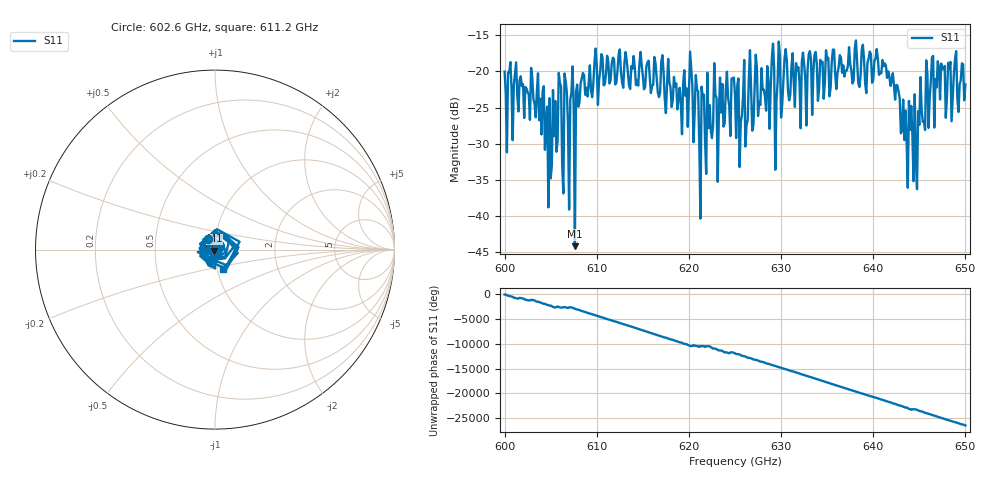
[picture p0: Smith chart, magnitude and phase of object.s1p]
!Created with skrf (http://scikit-rf.org).
# GHz S MA R 50.0
!freq magS11 angS11
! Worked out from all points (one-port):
!   401 points, 600 GHz to 650 GHz, reference 50 ohm
!   lowest |S11| = -44.2 dB at 607.6 GHz (marker M1), VSWR 1.01, Z = 49.7 - j0.547 ohm
!   |S11| at or under -10 dB: start of sweep to end of sweep
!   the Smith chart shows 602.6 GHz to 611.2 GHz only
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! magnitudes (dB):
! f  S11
! 600 GHz  -20.0
! 603.1 GHz  -23.8
! 604.4 GHz  -30.8
! 604.9 GHz  -23.7
! 605.9 GHz  -20.2
! 606.2 GHz  -33.0
! 607.6 GHz  -44.2
! 607.9 GHz  -21.8
! 608 GHz  -24.9
! 608.5 GHz  -20.2
! 612.5 GHz  -17.0
! 618.8 GHz  -25.3
! 619 GHz  -22.3
! 620.1 GHz  -17.3
! 621.4 GHz  -22.1
! 625 GHz  -23.2
! 625.4 GHz  -21.0
! 627.4 GHz  -19.5
! 630.5 GHz  -16.9
! 631.2 GHz  -17.5
! 637.5 GHz  -18.9
! 641.2 GHz  -18.9
! 643.8 GHz  -36.1
! 644.2 GHz  -28.9
! 644.5 GHz  -23.2
! 645.1 GHz  -20.8
! 647.2 GHz  -23.9
! 650 GHz  -21.8
